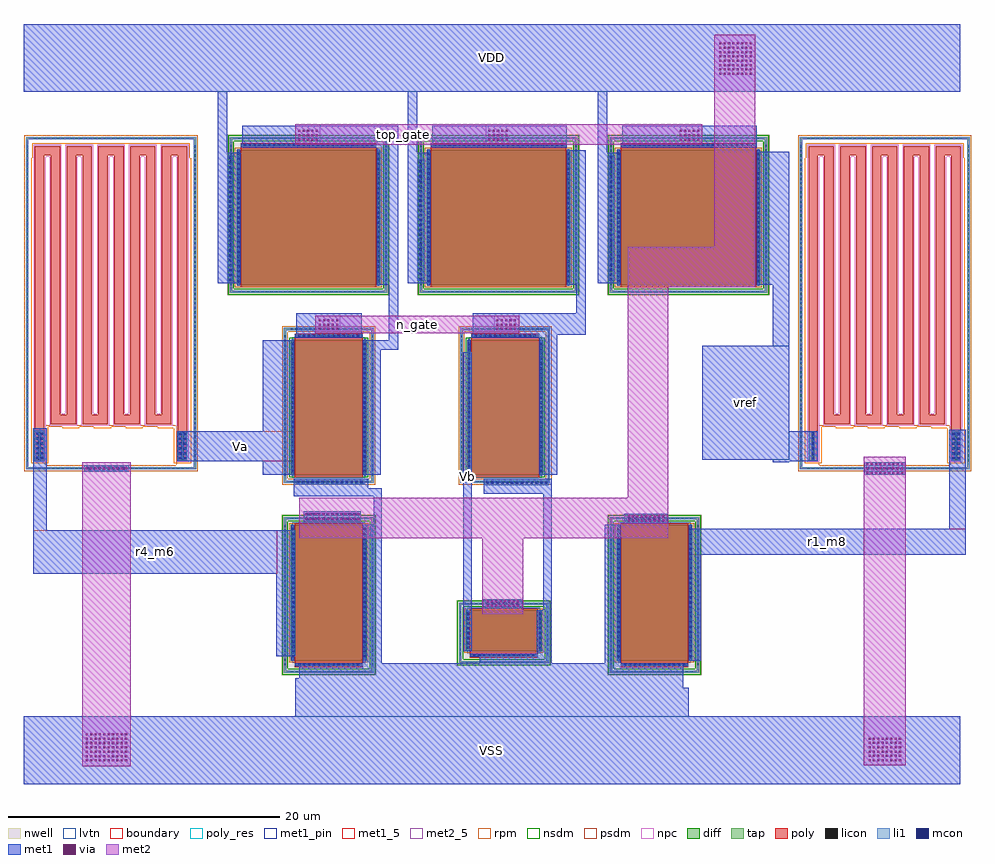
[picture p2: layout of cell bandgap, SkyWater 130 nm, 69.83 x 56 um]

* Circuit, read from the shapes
.subckt bandgap VDD VSS Va Vb n_gate r1_m8 r4_m6 top_gate vref
XM1 top_gate n_gate Va VSS sky130_fd_pr__nfet_01v8_lvt w=10 l=5
XM2 n_gate n_gate Vb VSS sky130_fd_pr__nfet_01v8_lvt w=10 l=5
XM3 top_gate top_gate VDD VDD sky130_fd_pr__pfet_01v8 w=10 l=10
XM4 VSS VSS r4_m6 VDD sky130_fd_pr__pfet_01v8_lvt w=10 l=5
XM5 n_gate top_gate VDD VDD sky130_fd_pr__pfet_01v8 w=10 l=10
XM6 VSS VSS Vb VDD sky130_fd_pr__pfet_01v8_lvt w=3 l=5
XM7 r1_m8 VSS VSS VDD sky130_fd_pr__pfet_01v8_lvt w=10 l=5
XM8 vref top_gate VDD VDD sky130_fd_pr__pfet_01v8 w=10 l=10
XR9 r4_m6 Va VSS sky130_fd_pr__res_high_po w=0.69 l=210.4
XR10 vref r1_m8 VSS sky130_fd_pr__res_high_po w=0.69 l=210.4
.ends

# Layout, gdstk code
import gdstk
lib = gdstk.Library(unit=1e-6, precision=1e-09)
def R(c, l, rs):  # rectangles x0, y0, x1, y1
    for r in rs: c.add(gdstk.rectangle(r[:2], r[2:], *l))
def A(c, l, x, y, w, h, nx, ny, dx, dy):  # array of equal rectangles
    R(c, l, [(x+i*dx, y+j*dy, x+i*dx+w, y+j*dy+h) for i in range(nx) for j in range(ny)])
nwell = (64, 20)
diff = (65, 20)
tap = (65, 44)
poly_res = (66, 13)
poly = (66, 20)
licon = (66, 44)
li1 = (67, 20)
mcon = (67, 44)
met1_5 = (68, 5)
met1_pin = (68, 16)
met1 = (68, 20)
via = (68, 44)
met2_5 = (69, 5)
met2 = (69, 20)
rpm = (86, 20)
nsdm = (93, 44)
psdm = (94, 20)
npc = (95, 20)
lvtn = (125, 44)
boundary = (235, 4)

sky130_fd_pr__res_high_p = lib.new_cell('sky130_fd_pr__res_high_po_0p69_77P8PF')
R(sky130_fd_pr__res_high_p, tap, [(-6.26,-12.24,6.26,-12.07), (-6.26,-12.07,-6.09,12.07), (6.09,-12.07,6.26,12.07), (-6.26,12.07,6.26,12.24)])
A(sky130_fd_pr__res_high_p, poly_res, -4.44, -8.91, 1.86, 0.69, 4, 1, 2.34, 0)
A(sky130_fd_pr__res_high_p, poly_res, -4.44, -8.22, 0.69, 19.12, 8, 1, 1.17, 0)
A(sky130_fd_pr__res_high_p, poly_res, -5.61, 10.9, 1.86, 0.69, 5, 1, 2.34, 0)
R(sky130_fd_pr__res_high_p, poly_res, [(-5.61,-9.51,-4.92,10.9), (4.92,-9.51,5.61,10.9)])
A(sky130_fd_pr__res_high_p, poly, -4.44, -8.91, 1.86, 0.69, 4, 1, 2.34, 0)
A(sky130_fd_pr__res_high_p, poly, -4.44, -8.22, 0.69, 19.12, 8, 1, 1.17, 0)
A(sky130_fd_pr__res_high_p, poly, -5.61, 10.9, 1.86, 0.69, 5, 1, 2.34, 0)
R(sky130_fd_pr__res_high_p, poly, [(-5.61,-11.59,-4.92,10.9), (4.92,-11.59,5.61,10.9)])
A(sky130_fd_pr__res_high_p, licon, -5.695, -12.24, 0.17, 0.17, 34, 2, 0.34, 24.31)
A(sky130_fd_pr__res_high_p, licon, -6.26, -11.645, 0.17, 0.17, 1, 69, 0, 0.34)
A(sky130_fd_pr__res_high_p, licon, 6.09, -11.645, 0.17, 0.17, 1, 69, 0, 0.34)
R(sky130_fd_pr__res_high_p, licon, [(-5.36,-11.51,-5.17,-9.51), (5.17,-11.51,5.36,-9.51)])
R(sky130_fd_pr__res_high_p, li1, [(-6.26,-12.24,6.26,-12.07), (-6.26,-12.07,-6.09,12.07), (6.09,-12.07,6.26,12.07), (-5.61,-11.59,-4.92,-9.43), (4.92,-11.59,5.61,-9.43), (-6.26,12.07,6.26,12.24)])
A(sky130_fd_pr__res_high_p, rpm, -3.6, -9.2, 1.27, 0.09, 3, 1, 2.34, 0)
R(sky130_fd_pr__res_high_p, rpm, [(-5.9,-11.79,-4.63,-9.11), (4.63,-11.79,5.9,-9.2), (3.42,-9.2,5.9,-9.11), (-5.9,-9.11,5.9,10.7), (-5.81,10.7,5.81,11.79)])
R(sky130_fd_pr__res_high_p, psdm, [(-6.385,-12.365,6.385,-11.945), (-6.385,-11.945,-4.81,-9.02), (4.81,-11.945,6.385,-9.02), (-6.385,-9.02,6.385,12.365)])
A(sky130_fd_pr__res_high_p, npc, -4.535, -9.005, 2.05, 0.88, 4, 1, 2.34, 0)
A(sky130_fd_pr__res_high_p, npc, -4.535, -8.125, 0.88, 18.93, 8, 1, 1.17, 0)
A(sky130_fd_pr__res_high_p, npc, -5.705, 10.805, 2.05, 0.88, 5, 1, 2.34, 0)
R(sky130_fd_pr__res_high_p, npc, [(-5.705,-11.685,-4.825,10.805), (4.825,-11.685,5.705,10.805)])
R(sky130_fd_pr__res_high_p, boundary, [(-6.17,-12.15,6.17,12.15)])

sky130_fd_pr__nfet_01v8_ = lib.new_cell('sky130_fd_pr__nfet_01v8_lvt_QYU87T')
R(sky130_fd_pr__nfet_01v8_, diff, [(-2.79,-5.155,2.79,4.845)])
R(sky130_fd_pr__nfet_01v8_, tap, [(-3.3,-5.715,3.3,-5.545), (-3.3,-5.545,-3.13,5.545), (3.13,-5.545,3.3,5.545), (-3.3,5.545,3.3,5.715)])
R(sky130_fd_pr__nfet_01v8_, poly, [(-2.5,-5.285,2.5,5.285)])
A(sky130_fd_pr__nfet_01v8_, licon, -2.805, -5.715, 0.17, 0.17, 17, 2, 0.34, 11.26)
A(sky130_fd_pr__nfet_01v8_, licon, -3.3, -5.185, 0.17, 0.17, 1, 31, 0, 0.34)
A(sky130_fd_pr__nfet_01v8_, licon, 3.13, -5.185, 0.17, 0.17, 1, 31, 0, 0.34)
A(sky130_fd_pr__nfet_01v8_, licon, -2.73, -5, 0.17, 0.17, 1, 29, 0, 0.34)
A(sky130_fd_pr__nfet_01v8_, licon, 2.56, -5, 0.17, 0.17, 1, 29, 0, 0.34)
A(sky130_fd_pr__nfet_01v8_, licon, -2.295, 5.035, 0.17, 0.17, 14, 1, 0.34, 0)
R(sky130_fd_pr__nfet_01v8_, li1, [(-3.3,-5.715,3.3,-5.545), (-3.3,-5.545,-3.13,5.545), (3.13,-5.545,3.3,5.545), (-2.73,-5.175,-2.56,4.865), (2.56,-5.175,2.73,4.865), (-2.5,5.035,2.5,5.205), (-3.3,5.545,3.3,5.715)])
A(sky130_fd_pr__nfet_01v8_, mcon, -2.73, -4.92, 0.17, 0.17, 1, 27, 0, 0.36)
A(sky130_fd_pr__nfet_01v8_, mcon, 2.56, -4.92, 0.17, 0.17, 1, 27, 0, 0.36)
A(sky130_fd_pr__nfet_01v8_, mcon, -2.245, 5.035, 0.17, 0.17, 13, 1, 0.36, 0)
R(sky130_fd_pr__nfet_01v8_, met1, [(-2.76,-5.155,-2.53,4.845), (2.53,-5.155,2.76,4.845), (-2.48,5.005,2.48,5.235)])
R(sky130_fd_pr__nfet_01v8_, nsdm, [(-2.915,-5.28,2.915,4.97)])
R(sky130_fd_pr__nfet_01v8_, psdm, [(-3.425,-5.84,3.425,-5.42), (-3.425,-5.42,-3.005,5.42), (3.005,-5.42,3.425,5.42), (-3.425,5.42,3.425,5.84)])
R(sky130_fd_pr__nfet_01v8_, npc, [(-2.395,4.935,2.395,5.305)])
R(sky130_fd_pr__nfet_01v8_, lvtn, [(-2.68,-5.335,2.68,5.025)])
R(sky130_fd_pr__nfet_01v8_, boundary, [(-3.215,-5.63,3.215,5.63)])

sky130_fd_pr__pfet_01v8_ = lib.new_cell('sky130_fd_pr__pfet_01v8_lvt_3VXSVM')
R(sky130_fd_pr__pfet_01v8_, nwell, [(-3.48,-2.42,3.48,2.42)])
R(sky130_fd_pr__pfet_01v8_, diff, [(-2.79,-1.32,2.79,1.68)])
R(sky130_fd_pr__pfet_01v8_, tap, [(-3.3,-2.24,3.3,-2.07), (-3.3,-2.07,-3.13,2.07), (3.13,-2.07,3.3,2.07), (-3.3,2.07,3.3,2.24)])
R(sky130_fd_pr__pfet_01v8_, poly, [(-2.5,-1.805,2.5,1.81)])
A(sky130_fd_pr__pfet_01v8_, licon, -2.805, -2.24, 0.17, 0.17, 17, 2, 0.34, 4.31)
A(sky130_fd_pr__pfet_01v8_, licon, -2.295, -1.725, 0.17, 0.17, 14, 1, 0.34, 0)
A(sky130_fd_pr__pfet_01v8_, licon, -3.3, -1.615, 0.17, 0.17, 1, 10, 0, 0.34)
A(sky130_fd_pr__pfet_01v8_, licon, 3.13, -1.615, 0.17, 0.17, 1, 10, 0, 0.34)
A(sky130_fd_pr__pfet_01v8_, licon, -2.73, -1.095, 0.17, 0.17, 1, 8, 0, 0.34)
A(sky130_fd_pr__pfet_01v8_, licon, 2.56, -1.095, 0.17, 0.17, 1, 8, 0, 0.34)
R(sky130_fd_pr__pfet_01v8_, li1, [(-3.3,-2.24,3.3,-2.07), (-3.3,-2.07,-3.13,2.07), (3.13,-2.07,3.3,2.07), (-2.5,-1.725,2.5,-1.555), (-2.73,-1.34,-2.56,1.7), (2.56,-1.34,2.73,1.7), (-3.3,2.07,3.3,2.24)])
A(sky130_fd_pr__pfet_01v8_, mcon, -2.245, -1.725, 0.17, 0.17, 13, 1, 0.36, 0)
A(sky130_fd_pr__pfet_01v8_, mcon, -2.73, -1.165, 0.17, 0.17, 1, 8, 0, 0.36)
A(sky130_fd_pr__pfet_01v8_, mcon, 2.56, -1.165, 0.17, 0.17, 1, 8, 0, 0.36)
R(sky130_fd_pr__pfet_01v8_, met1, [(-2.48,-1.755,2.48,-1.525), (-2.76,-1.32,-2.53,1.68), (2.53,-1.32,2.76,1.68)])
R(sky130_fd_pr__pfet_01v8_, nsdm, [(-3.425,-2.365,3.425,-1.945), (-3.425,-1.945,-3.005,1.945), (3.005,-1.945,3.425,1.945), (-3.425,1.945,3.425,2.365)])
R(sky130_fd_pr__pfet_01v8_, psdm, [(-2.915,-1.445,2.915,1.805)])
R(sky130_fd_pr__pfet_01v8_, npc, [(-2.395,-1.825,2.395,-1.455)])
R(sky130_fd_pr__pfet_01v8_, lvtn, [(-2.68,-1.5,2.68,1.86)])
R(sky130_fd_pr__pfet_01v8_, boundary, [(-3.215,-2.155,3.215,2.155)])

c_sky130_fd_pr__pfet_01v8_ = lib.new_cell('sky130_fd_pr__pfet_01v8_lvt_GUWLND')
R(c_sky130_fd_pr__pfet_01v8_, nwell, [(-3.48,-5.92,3.48,5.92)])
R(c_sky130_fd_pr__pfet_01v8_, diff, [(-2.79,-4.82,2.79,5.18)])
R(c_sky130_fd_pr__pfet_01v8_, tap, [(-3.3,-5.74,3.3,-5.57), (-3.3,-5.57,-3.13,5.57), (3.13,-5.57,3.3,5.57), (-3.3,5.57,3.3,5.74)])
R(c_sky130_fd_pr__pfet_01v8_, poly, [(-2.5,-5.305,2.5,5.31)])
A(c_sky130_fd_pr__pfet_01v8_, licon, -2.805, -5.74, 0.17, 0.17, 17, 2, 0.34, 11.31)
A(c_sky130_fd_pr__pfet_01v8_, licon, -2.295, -5.225, 0.17, 0.17, 14, 1, 0.34, 0)
A(c_sky130_fd_pr__pfet_01v8_, licon, -3.3, -5.185, 0.17, 0.17, 1, 31, 0, 0.34)
A(c_sky130_fd_pr__pfet_01v8_, licon, 3.13, -5.185, 0.17, 0.17, 1, 31, 0, 0.34)
A(c_sky130_fd_pr__pfet_01v8_, licon, -2.73, -4.665, 0.17, 0.17, 1, 29, 0, 0.34)
A(c_sky130_fd_pr__pfet_01v8_, licon, 2.56, -4.665, 0.17, 0.17, 1, 29, 0, 0.34)
R(c_sky130_fd_pr__pfet_01v8_, li1, [(-3.3,-5.74,3.3,-5.57), (-3.3,-5.57,-3.13,5.57), (3.13,-5.57,3.3,5.57), (-2.5,-5.225,2.5,-5.055), (-2.73,-4.84,-2.56,5.2), (2.56,-4.84,2.73,5.2), (-3.3,5.57,3.3,5.74)])
A(c_sky130_fd_pr__pfet_01v8_, mcon, -2.245, -5.225, 0.17, 0.17, 13, 1, 0.36, 0)
A(c_sky130_fd_pr__pfet_01v8_, mcon, -2.73, -4.585, 0.17, 0.17, 1, 27, 0, 0.36)
A(c_sky130_fd_pr__pfet_01v8_, mcon, 2.56, -4.585, 0.17, 0.17, 1, 27, 0, 0.36)
R(c_sky130_fd_pr__pfet_01v8_, met1, [(-2.48,-5.255,2.48,-5.025), (-2.76,-4.82,-2.53,5.18), (2.53,-4.82,2.76,5.18)])
R(c_sky130_fd_pr__pfet_01v8_, nsdm, [(-3.425,-5.865,3.425,-5.445), (-3.425,-5.445,-3.005,5.445), (3.005,-5.445,3.425,5.445), (-3.425,5.445,3.425,5.865)])
R(c_sky130_fd_pr__pfet_01v8_, psdm, [(-2.915,-4.945,2.915,5.305)])
R(c_sky130_fd_pr__pfet_01v8_, npc, [(-2.395,-5.325,2.395,-4.955)])
R(c_sky130_fd_pr__pfet_01v8_, lvtn, [(-2.68,-5,2.68,5.36)])
R(c_sky130_fd_pr__pfet_01v8_, boundary, [(-3.215,-5.655,3.215,5.655)])

c_sky130_fd_pr__pfet_01v8__ = lib.new_cell('sky130_fd_pr__pfet_01v8_XLZ98A')
R(c_sky130_fd_pr__pfet_01v8__, nwell, [(-5.98,-5.92,5.98,5.92)])
R(c_sky130_fd_pr__pfet_01v8__, diff, [(-5.29,-5.18,5.29,4.82)])
R(c_sky130_fd_pr__pfet_01v8__, tap, [(-5.8,-5.74,5.8,-5.57), (-5.8,-5.57,-5.63,5.57), (5.63,-5.57,5.8,5.57), (-5.8,5.57,5.8,5.74)])
R(c_sky130_fd_pr__pfet_01v8__, poly, [(-5,-5.31,5,5.305)])
A(c_sky130_fd_pr__pfet_01v8__, licon, -5.185, -5.74, 0.17, 0.17, 31, 2, 0.34, 11.31)
A(c_sky130_fd_pr__pfet_01v8__, licon, -5.8, -5.185, 0.17, 0.17, 1, 31, 0, 0.34)
A(c_sky130_fd_pr__pfet_01v8__, licon, 5.63, -5.185, 0.17, 0.17, 1, 31, 0, 0.34)
A(c_sky130_fd_pr__pfet_01v8__, licon, -5.23, -5.025, 0.17, 0.17, 1, 29, 0, 0.34)
A(c_sky130_fd_pr__pfet_01v8__, licon, 5.06, -5.025, 0.17, 0.17, 1, 29, 0, 0.34)
A(c_sky130_fd_pr__pfet_01v8__, licon, -4.845, 5.055, 0.17, 0.17, 29, 1, 0.34, 0)
R(c_sky130_fd_pr__pfet_01v8__, li1, [(-5.8,-5.74,5.8,-5.57), (-5.8,-5.57,-5.63,5.57), (5.63,-5.57,5.8,5.57), (-5.23,-5.2,-5.06,4.84), (5.06,-5.2,5.23,4.84), (-5,5.055,5,5.225), (-5.8,5.57,5.8,5.74)])
A(c_sky130_fd_pr__pfet_01v8__, mcon, -5.23, -4.945, 0.17, 0.17, 1, 27, 0, 0.36)
A(c_sky130_fd_pr__pfet_01v8__, mcon, 5.06, -4.945, 0.17, 0.17, 1, 27, 0, 0.36)
A(c_sky130_fd_pr__pfet_01v8__, mcon, -4.765, 5.055, 0.17, 0.17, 27, 1, 0.36, 0)
R(c_sky130_fd_pr__pfet_01v8__, met1, [(-5.26,-5.18,-5.03,4.82), (5.03,-5.18,5.26,4.82), (-4.98,5.025,4.98,5.255)])
R(c_sky130_fd_pr__pfet_01v8__, nsdm, [(-5.925,-5.865,5.925,-5.445), (-5.925,-5.445,-5.505,5.445), (5.505,-5.445,5.925,5.445), (-5.925,5.445,5.925,5.865)])
R(c_sky130_fd_pr__pfet_01v8__, psdm, [(-5.415,-5.305,5.415,4.945)])
R(c_sky130_fd_pr__pfet_01v8__, npc, [(-4.945,4.955,4.945,5.325)])
R(c_sky130_fd_pr__pfet_01v8__, boundary, [(-5.715,-5.655,5.715,5.655)])

bandgap = lib.new_cell('bandgap')
R(bandgap, li1, [(24,18.1,26.6,18.5), (10.8,24.4,14.7,25), (34.4,24.4,37.4,24.7), (24,27,28.7,27.4), (10,27.1,15.1,27.4), (52.1,28,54.8,28.5), (-5.4,28.1,-2.4,28.4), (-9.21,28.78,-8.43,31.05), (1.4,28.9,2,30.9), (47.9,28.9,48.4,30.9), (58.4,28.9,59,30.9), (5,42,5.4,51.3), (19,42.1,19.5,51), (33.1,42.1,33.5,51.3)])
A(bandgap, mcon, 24.135, 18.215, 0.17, 0.17, 7, 1, 0.36, 0)
A(bandgap, mcon, 10.865, 24.435, 0.17, 0.17, 11, 2, 0.36, 0.36)
A(bandgap, mcon, 34.555, 24.465, 0.17, 0.17, 8, 1, 0.36, 0)
A(bandgap, mcon, 24.105, 27.115, 0.17, 0.17, 13, 1, 0.36, 0)
A(bandgap, mcon, 10.125, 27.165, 0.17, 0.17, 14, 1, 0.36, 0)
A(bandgap, mcon, -5.245, 28.165, 0.17, 0.17, 8, 1, 0.36, 0)
A(bandgap, mcon, 52.105, 28.165, 0.17, 0.17, 8, 1, 0.36, 0)
A(bandgap, mcon, 1.435, 28.915, 0.17, 0.17, 1, 6, 0, 0.36)
A(bandgap, mcon, 1.795, 28.915, 0.17, 0.17, 1, 6, 0, 0.36)
A(bandgap, mcon, 48.065, 28.915, 0.17, 0.17, 1, 6, 0, 0.36)
A(bandgap, mcon, 58.435, 28.915, 0.17, 0.17, 1, 6, 0, 0.36)
A(bandgap, mcon, 58.795, 28.915, 0.17, 0.17, 1, 6, 0, 0.36)
A(bandgap, mcon, -9.085, 28.93, 0.17, 0.17, 1, 6, 0, 0.36)
A(bandgap, mcon, -8.725, 28.93, 0.17, 0.17, 1, 6, 0, 0.36)
A(bandgap, mcon, 5.115, 42.065, 0.17, 0.17, 1, 26, 0, 0.36)
A(bandgap, mcon, 33.215, 42.115, 0.17, 0.17, 1, 26, 0, 0.36)
A(bandgap, mcon, 19.165, 42.145, 0.17, 0.17, 1, 25, 0, 0.36)
R(bandgap, met1_5, [(22.4,18.5,23.005,36.8), (-9.3,20.5,8.7,23.7), (39,21.9,59.4,23.8), (2,28.8,9.9,31)])
R(bandgap, met1_pin, [(-10,5,59,10), (40,28.9,46.4,37.3), (-10,56,59,61)])
A(bandgap, met1, 4.3, 41.9, 1.7, 9.6, 3, 1, 14, 0)
A(bandgap, met1, 4.3, 51.5, 0.7, 4.5, 3, 1, 14, 0)
R(bandgap, met1, [(-10,5,59,10), (10,10,39,12.1), (10,12.1,38.6,12.8), (10.3,12.8,38.6,13.8), (10.3,13.8,34,13.9), (34.4,13.8,38.6,13.9), (15,13.9,16.4,24.1), (23.6,13.9,28.9,14.6), (32.8,13.9,34,24.1), (39,14.1,39.9,21.9), (8.6,14.4,10,20.5), (27.8,14.6,28.9,17.8), (22.4,14.8,23,18.5), (28.3,17.8,28.9,26.4), (23.85,18,26.75,18.6), (22.4,18.5,23.005,36.8), (-9.3,20.5,10,23.7), (39,21.9,59.4,23.8), (-9.3,23.7,-8.3,31.2), (58.2,23.8,59.4,31.1), (15.8,24.1,16.4,26.2), (34.25,24.2,37.45,24.37), (10.65,24.3,14.85,25.1), (34.25,24.37,37.46,24.73), (34.25,24.73,37.45,24.9), (9.9,26.2,16.4,26.8), (23.9,26.4,28.9,27.5), (9.9,26.8,15.4,27.5), (7.6,27.8,9.9,28.8), (15,27.8,16.3,37), (28,27.8,29.3,37.9), (51.95,27.8,54.95,28.7), (-5.55,28,-2.25,28.5), (45.2,28.7,46.4,28.8), (1.3,28.8,9.9,31), (45.2,28.8,48.5,28.9), (40,28.9,48.5,31), (7.6,31,9.9,37.7), (40,31,46.4,37.3), (15,37,17.6,37.7), (45.2,37.3,46.4,41.8), (16.9,37.7,17.6,41.8), (10.1,37.9,14.9,39.7), (23.1,37.9,29.3,38.1), (23.1,38.1,31.4,39.7), (30.7,39.7,31.4,41.8), (16,41.8,17.6,51.9), (30,41.8,31.4,51.7), (44,41.8,46.4,51.6), (6.1,51.9,17.6,53.5), (20.1,51.9,30,53.5), (34.1,51.9,44,53.5), (-10,56,59,61)])
A(bandgap, via, -5.415, 6.665, 0.15, 0.15, 10, 7, 0.32, 0.32)
A(bandgap, via, 52.255, 6.675, 0.15, 0.15, 8, 6, 0.32, 0.32)
A(bandgap, via, 24.105, 18.065, 0.15, 0.15, 8, 2, 0.32, 0.32)
A(bandgap, via, 34.495, 24.315, 0.15, 0.15, 9, 2, 0.32, 0.32)
A(bandgap, via, 10.755, 24.465, 0.15, 0.15, 13, 2, 0.32, 0.32)
A(bandgap, via, 52.095, 27.855, 0.15, 0.15, 9, 3, 0.32, 0.32)
A(bandgap, via, -5.415, 28.175, 0.15, 0.15, 10, 1, 0.32, 0)
A(bandgap, via, 11.735, 38.455, 0.15, 0.15, 5, 3, 0.32, 0.32)
A(bandgap, via, 24.835, 38.455, 0.15, 0.15, 5, 3, 0.32, 0.32)
A(bandgap, via, 10.235, 52.405, 0.15, 0.15, 5, 3, 0.32, 0.32)
A(bandgap, via, 24.235, 52.405, 0.15, 0.15, 5, 3, 0.32, 0.32)
A(bandgap, via, 38.335, 52.405, 0.15, 0.15, 5, 3, 0.32, 0.32)
A(bandgap, via, 41.255, 57.255, 0.15, 0.15, 8, 8, 0.32, 0.32)
R(bandgap, met2_5, [(13.3,38.2,24.7,39.5), (11.8,52.1,24.1,53.6)])
R(bandgap, met2, [(-5.7,6.3,-2.1,28.7), (51.9,6.4,55,29.1), (23.8,17.5,26.8,23.1), (10.3,23.1,37.5,26.1), (34.5,26.1,37.5,41.6), (11.5,38.2,26.5,39.5), (34.5,41.6,43.9,44.6), (40.9,44.6,43.9,60.2), (10,52.1,40,53.6)])
bandgap.add(gdstk.Reference(sky130_fd_pr__res_high_p, (-3.56,40.42)))
bandgap.add(gdstk.Reference(sky130_fd_pr__res_high_p, (53.44,40.42)))
bandgap.add(gdstk.Reference(sky130_fd_pr__nfet_01v8_, (12.48,32.895)))
bandgap.add(gdstk.Reference(sky130_fd_pr__pfet_01v8_, (25.38,16.12)))
bandgap.add(gdstk.Reference(c_sky130_fd_pr__pfet_01v8_, (36.48,18.92)))
bandgap.add(gdstk.Reference(c_sky130_fd_pr__pfet_01v8_, (12.48,18.92)))
bandgap.add(gdstk.Reference(sky130_fd_pr__nfet_01v8_, (25.48,32.895)))
bandgap.add(gdstk.Reference(c_sky130_fd_pr__pfet_01v8__, (38.98,46.92)))
bandgap.add(gdstk.Reference(c_sky130_fd_pr__pfet_01v8__, (24.98,46.92)))
bandgap.add(gdstk.Reference(c_sky130_fd_pr__pfet_01v8__, (10.98,46.92)))
bandgap.add(gdstk.Label('top_gate', (17.95,52.85), layer=69, texttype=5))
bandgap.add(gdstk.Label('n_gate', (19,38.85), layer=69, texttype=5))
bandgap.add(gdstk.Label('Va', (5.95,29.9), layer=68, texttype=5))
bandgap.add(gdstk.Label('r4_m6', (-0.3,22.1), layer=68, texttype=5))
bandgap.add(gdstk.Label('r1_m8', (49.2,22.85), layer=68, texttype=5))
bandgap.add(gdstk.Label('Vb', (22.702,27.65), layer=68, texttype=5))
bandgap.add(gdstk.Label('VSS', (24.5,7.5), layer=68, texttype=5))
bandgap.add(gdstk.Label('VDD', (24.5,58.5), layer=68, texttype=5))
bandgap.add(gdstk.Label('vref', (43.2,33.1), layer=68, texttype=5))

lib.write_gds('bandgap.gds')
